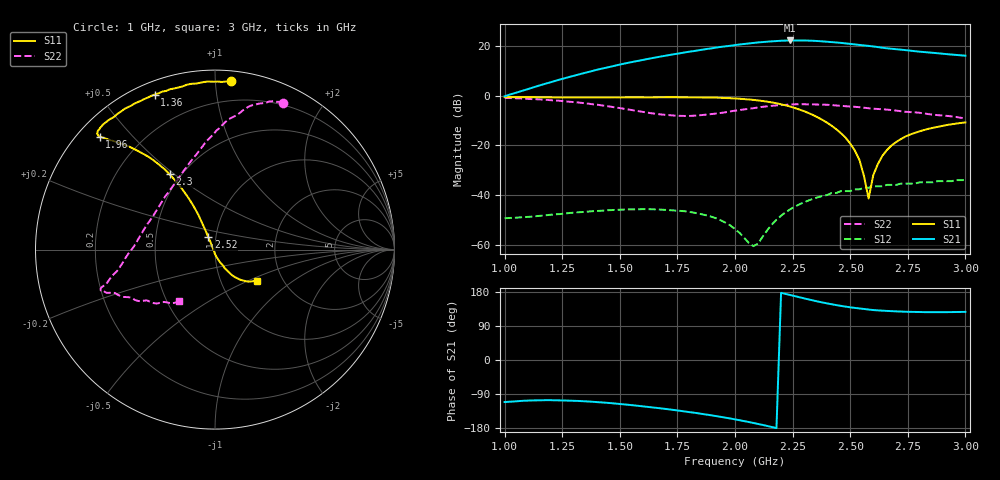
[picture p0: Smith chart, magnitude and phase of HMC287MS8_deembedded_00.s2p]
!Hittite Microwave Corporation
!12 Elizabeth Drive
!Chelmsford, MA 01824
!Tel: 978-250-3343
!Fax: 978-250-3373
!Device: HMC287MS8, 2.3-2.5 GHz LNA with AGC in 8-lead Grounded Base surface Mount Plastic Package
!Misc: Vdd = +3V Idd = 9.6 mA Vctl = 0V , DEEMBEDDED TO THE PINS OF THE DEVICE
# MHZ S MA R 50
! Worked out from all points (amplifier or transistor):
!   101 points, 1 GHz to 3 GHz, reference 50 ohm
!   highest |S21| = 22.3 dB at 2.24 GHz (marker M1)
!   |S21| within 3 dB of that: 1.91 GHz to 2.645 GHz (735 MHz wide, 32.3 % of centre)
!   unconditionally stable (mu >= 1): start of sweep to end of sweep
!   at 1.32 GHz: K = 2.53, MAG = 20.9 dB, |S12| = -47.0 dB
!   at 2 GHz: K = 3.89, MAG = 28.2 dB, |S12| = -53.7 dB
!   at 3 GHz: K = 3.12, MAG = 17.2 dB, |S12| = -34.0 dB
!   S11 on the Smith chart (normalised r, x): 1 GHz: 0.07, +1.10; 1.36 GHz: 0.06, +0.68; 1.96 GHz: 0.06, +0.41; 2.3 GHz: 0.44, +0.48; 2.52 GHz: 0.92, +0.13; 3 GHz: 1.48, -0.56
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1000  0.941 84.7  0.976 -111.0  0.003403 -164.2  0.903 65.1
1340  0.926 109.8  2.825 -108.7  0.004546 -133.2  0.714 85.3
1360  0.927 111.3  2.985 -109.4  0.004629 -131.9  0.696 86.6
1540  0.932 122.7  4.654 -118.4  0.005137 -124.9  0.526 103.0
1680  0.934 129.6  6.199 -127.8  0.005094 -123.5  0.42 125.5
1840  0.928 134.8  8.223 -140.7  0.004245 -126.0  0.403 159.4
1960  0.9 135.6  9.92 -152.3  0.002754 -136.9  0.466 -179.8
2000  0.883 135.1  10.49 -156.7  0.00206 -144.6  0.501 -174.6
2080  0.825 133.0  11.6 -166.2  0.0009315 146.1  0.562 -167.4
2120  0.785 131.4  12.07 -171.3  0.001446 91.3  0.598 -165.2
2200  0.672 127.1  12.84 177.3  0.003824 58.0  0.648 -162.2
2240  0.604 124.5  13.01 171.4  0.005176 50.6  0.666 -161.7
2300  0.489 121.0  12.98 162.7  0.007141 42.1  0.675 -160.3
2340  0.406 118.9  12.81 157.0  0.008419 37.8  0.669 -160.3
2380  0.325 117.2  12.46 151.7  0.009578 34.1  0.662 -159.8
2440  0.211 115.6  11.85 144.9  0.011 29.5  0.637 -157.8
2520  0.079 118.4  10.82 137.5  0.013 25.9  0.599 -155.3
2580  0.008505 -142.4  10.11 133.1  0.014 25.3  0.56 -151.8
2620  0.042 -78.1  9.568 131.0  0.015 24.7  0.542 -150.4
2680  0.1 -63.2  8.843 129.0  0.016 23.3  0.515 -146.2
2820  0.204 -51.9  7.601 126.4  0.018 24.9  0.442 -137.2
3000  0.29 -36.5  6.417 127.0  0.02 31.3  0.35 -125.0
